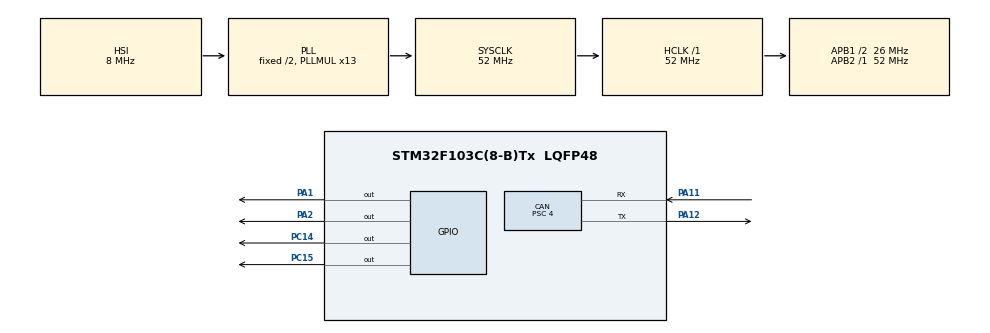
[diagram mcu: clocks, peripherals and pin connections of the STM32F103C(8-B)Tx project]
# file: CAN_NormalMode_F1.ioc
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CAN.BS1=CAN_BS1_10TQ
CAN.BS2=CAN_BS2_2TQ
CAN.CalculateBaudRate=500000
CAN.CalculateTimeBit=2000
CAN.CalculateTimeQuantum=153.84615384615384
CAN.NART=ENABLE
CAN.Prescaler=4
Mcu.Family=STM32F1
Mcu.Name=STM32F103C(8-B)Tx
Mcu.Package=LQFP48
NVIC.CAN1_RX1_IRQn=true\:0\:0\:false\:false\:true\:true\:true\:true
NVIC.CAN1_SCE_IRQn=true\:0\:0\:false\:false\:true\:true\:true\:true
NVIC.PriorityGroup=NVIC_PRIORITYGROUP_4
NVIC.USB_HP_CAN1_TX_IRQn=true\:0\:0\:false\:false\:true\:true\:true\:true
NVIC.USB_LP_CAN1_RX0_IRQn=true\:0\:0\:false\:false\:true\:true\:true\:true
PA1.Signal=GPIO_Output
PA11.Mode=CAN_Activate
PA11.Signal=CAN_RX
PA12.Mode=CAN_Activate
PA12.Signal=CAN_TX
PA13.Mode=Serial_Wire
PA13.Signal=SYS_JTMS-SWDIO
PA14.Mode=Serial_Wire
PA14.Signal=SYS_JTCK-SWCLK
PA2.Signal=GPIO_Output
PC14-OSC32_IN.Signal=GPIO_Output
PC15-OSC32_OUT.Signal=GPIO_Output
ProjectManager.HeapSize=0x200
ProjectManager.StackSize=0x400
ProjectManager.TargetToolchain=STM32CubeIDE
RCC.AHBFreq_Value=52000000
RCC.APB1CLKDivider=RCC_HCLK_DIV2
RCC.APB1Freq_Value=26000000
RCC.APB1TimFreq_Value=52000000
RCC.APB2Freq_Value=52000000
RCC.APB2TimFreq_Value=52000000
RCC.HCLKFreq_Value=52000000
RCC.PLLMUL=RCC_PLL_MUL13
RCC.SYSCLKFreq_VALUE=52000000
RCC.SYSCLKSource=RCC_SYSCLKSOURCE_PLLCLK
RCC.USBFreq_Value=52000000
board=custom

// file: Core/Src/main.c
/* USER CODE BEGIN Header */
/**
  ******************************************************************************
  * @file           : main.c
  * @brief          : Main program body
  ******************************************************************************
  * @attention
  *
  * Copyright (c) 2024 STMicroelectronics.
  * All rights reserved.
  *
  * This software is licensed under terms that can be found in the LICENSE file
  * in the root directory of this software component.
  * If no LICENSE file comes with this software, it is provided AS-IS.
  *
  ******************************************************************************
  */
/* USER CODE END Header */
#include "main.h"

/* USER CODE BEGIN Includes */

#include <stdio.h>
#include <string.h>

/* USER CODE END Includes */

/* USER CODE BEGIN PD */

#define LED1_PORT			(GPIOA)
#define LED2_PORT			(GPIOA)
#define LED3_PORT			(GPIOC)
#define LED4_PORT			(GPIOC)

#define LED1_PIN			(GPIO_PIN_2)
#define LED2_PIN			(GPIO_PIN_1)
#define LED3_PIN			(GPIO_PIN_15)
#define LED4_PIN			(GPIO_PIN_14)

/* USER CODE END PD */

CAN_HandleTypeDef hcan1;

void SystemClock_Config(void);
static void MX_GPIO_Init(void);
static void MX_CAN_Init(void);
/* USER CODE BEGIN PFP */

void CAN1_FiterConfig(void);

void LedManage(uint8_t Copy_u8LedNum);
void ManageResponse(void);

/* USER CODE END PFP */

int main(void)
{

  /* MCU Configuration--------------------------------------------------------*/

  /* Reset of all peripherals, Initializes the Flash interface and the Systick. */
  HAL_Init();

  /* Configure the system clock */
  SystemClock_Config();

  /* Initialize all configured peripherals */
  MX_GPIO_Init();
  MX_CAN_Init();
  /* USER CODE BEGIN 2 */

  /* CAN Interrupt Enable*/
  if (HAL_CAN_ActivateNotification(&hcan1, CAN_IT_TX_MAILBOX_EMPTY | CAN_IT_RX_FIFO0_MSG_PENDING | CAN_IT_RX_FIFO1_MSG_PENDING) != HAL_OK)
  {
	  Error_Handler();
  }

  CAN1_FiterConfig();

  /* Go to normal mode */
  HAL_CAN_Start(&hcan1);

  /* USER CODE END 2 */

  /* Infinite loop */
  while (1)
  {

  }
}

void SystemClock_Config(void)
{
  RCC_OscInitTypeDef RCC_OscInitStruct = {0};
  RCC_ClkInitTypeDef RCC_ClkInitStruct = {0};

  /** Initializes the RCC Oscillators according to the specified parameters
  * in the RCC_OscInitTypeDef structure.
  */
  RCC_OscInitStruct.OscillatorType = RCC_OSCILLATORTYPE_HSI;
  RCC_OscInitStruct.HSIState = RCC_HSI_ON;
  RCC_OscInitStruct.HSICalibrationValue = RCC_HSICALIBRATION_DEFAULT;
  RCC_OscInitStruct.PLL.PLLState = RCC_PLL_ON;
  RCC_OscInitStruct.PLL.PLLSource = RCC_PLLSOURCE_HSI_DIV2;
  RCC_OscInitStruct.PLL.PLLMUL = RCC_PLL_MUL13;
  if (HAL_RCC_OscConfig(&RCC_OscInitStruct) != HAL_OK)
  {
    Error_Handler();
  }

  /** Initializes the CPU, AHB and APB buses clocks
  */
  RCC_ClkInitStruct.ClockType = RCC_CLOCKTYPE_HCLK|RCC_CLOCKTYPE_SYSCLK
                              |RCC_CLOCKTYPE_PCLK1|RCC_CLOCKTYPE_PCLK2;
  RCC_ClkInitStruct.SYSCLKSource = RCC_SYSCLKSOURCE_PLLCLK;
  RCC_ClkInitStruct.AHBCLKDivider = RCC_SYSCLK_DIV1;
  RCC_ClkInitStruct.APB1CLKDivider = RCC_HCLK_DIV2;
  RCC_ClkInitStruct.APB2CLKDivider = RCC_HCLK_DIV1;

  if (HAL_RCC_ClockConfig(&RCC_ClkInitStruct, FLASH_LATENCY_2) != HAL_OK)
  {
    Error_Handler();
  }
}

static void MX_CAN_Init(void)
{

  hcan1.Instance = CAN1;
  hcan1.Init.Prescaler = 4;
  hcan1.Init.Mode = CAN_MODE_NORMAL;
  hcan1.Init.SyncJumpWidth = CAN_SJW_1TQ;
  hcan1.Init.TimeSeg1 = CAN_BS1_10TQ;
  hcan1.Init.TimeSeg2 = CAN_BS2_2TQ;
  hcan1.Init.TimeTriggeredMode = DISABLE;
  hcan1.Init.AutoBusOff = DISABLE;
  hcan1.Init.AutoWakeUp = DISABLE;
  hcan1.Init.AutoRetransmission = ENABLE;
  hcan1.Init.ReceiveFifoLocked = DISABLE;
  hcan1.Init.TransmitFifoPriority = DISABLE;
  if (HAL_CAN_Init(&hcan1) != HAL_OK)
  {
    Error_Handler();
  }

}

static void MX_GPIO_Init(void)
{
  GPIO_InitTypeDef GPIO_InitStruct = {0};

  /* GPIO Ports Clock Enable */
  __HAL_RCC_GPIOC_CLK_ENABLE();
  __HAL_RCC_GPIOA_CLK_ENABLE();

  /*Configure GPIO pin Output Level */
  HAL_GPIO_WritePin(GPIOC, GPIO_PIN_14|GPIO_PIN_15, GPIO_PIN_RESET);

  /*Configure GPIO pin Output Level */
  HAL_GPIO_WritePin(GPIOA, GPIO_PIN_1|GPIO_PIN_2, GPIO_PIN_RESET);

  /*Configure GPIO pins : PC14 PC15 */
  GPIO_InitStruct.Pin = GPIO_PIN_14|GPIO_PIN_15;
  GPIO_InitStruct.Mode = GPIO_MODE_OUTPUT_PP;
  GPIO_InitStruct.Pull = GPIO_NOPULL;
  GPIO_InitStruct.Speed = GPIO_SPEED_FREQ_LOW;
  HAL_GPIO_Init(GPIOC, &GPIO_InitStruct);

  /*Configure GPIO pins : PA1 PA2 */
  GPIO_InitStruct.Pin = GPIO_PIN_1|GPIO_PIN_2;
  GPIO_InitStruct.Mode = GPIO_MODE_OUTPUT_PP;
  GPIO_InitStruct.Pull = GPIO_NOPULL;
  GPIO_InitStruct.Speed = GPIO_SPEED_FREQ_LOW;
  HAL_GPIO_Init(GPIOA, &GPIO_InitStruct);

}

/* USER CODE BEGIN 4 */

void CAN1_FiterConfig(void)
{
	CAN_FilterTypeDef Local_FilterConfig =
	{
			.FilterActivation = CAN_FILTER_ENABLE,
			.FilterBank = 0U,
			.FilterFIFOAssignment = CAN_RX_FIFO0,
			.FilterMaskIdHigh = 0U,
			.FilterMaskIdLow = 0U,
			.FilterMode = CAN_FILTERMODE_IDMASK,
			.FilterScale = CAN_FILTERSCALE_32BIT
	};

	if (HAL_CAN_ConfigFilter(&hcan1, &Local_FilterConfig) != HAL_OK)
	{
		Error_Handler();
	}
}

//void HAL_CAN_TxMailbox0CompleteCallback(CAN_HandleTypeDef *hcan)
//{
//	char Local_chTransmitMsg[50];
//
//	sprintf(Local_chTransmitMsg, "Message transmitted: MB0\r\n");
//
//	HAL_UART_Transmit(&huart2, (uint8_t *)Local_chTransmitMsg, strlen(Local_chTransmitMsg), HAL_MAX_DELAY);
//}
//
//void HAL_CAN_TxMailbox1CompleteCallback(CAN_HandleTypeDef *hcan)
//{
//	char Local_chTransmitMsg[50];
//
//	sprintf(Local_chTransmitMsg, "Message transmitted: MB1\r\n");
//
//	HAL_UART_Transmit(&huart2, (uint8_t *)Local_chTransmitMsg, strlen(Local_chTransmitMsg), HAL_MAX_DELAY);
//}
//
//void HAL_CAN_TxMailbox2CompleteCallback(CAN_HandleTypeDef *hcan)
//{
//	char Local_chTransmitMsg[50];
//
//	sprintf(Local_chTransmitMsg, "Message transmitted: MB2\r\n");
//
//	HAL_UART_Transmit(&huart2, (uint8_t *)Local_chTransmitMsg, strlen(Local_chTransmitMsg), HAL_MAX_DELAY);
//}

void HAL_CAN_RxFifo0MsgPendingCallback(CAN_HandleTypeDef *hcan)
{
	CAN_RxHeaderTypeDef Local_CanRxHdr;
	uint8_t Local_au8ReceivedData[8U];
	//char Local_chReceivedMsg[50];

	if (HAL_CAN_GetRxMessage(&hcan1, CAN_RX_FIFO0, &Local_CanRxHdr, (uint8_t *)&Local_au8ReceivedData) != HAL_OK)
	{
		Error_Handler();
	}
	else
	{
		/* Correctly received the frame */
		if ((Local_CanRxHdr.StdId == 0x65D) && (Local_CanRxHdr.RTR == CAN_RTR_DATA))
		{
			/* Our led managment frame */
			LedManage(Local_au8ReceivedData[0U]);

		}
		else if ((Local_CanRxHdr.StdId == 0x651) && (Local_CanRxHdr.RTR == CAN_RTR_REMOTE))
		{
			ManageResponse();
		}
	}

	//sprintf(Local_chReceivedMsg, "Message received: %s\r\n", (char*)&Local_au8ReceivedData);

	//HAL_UART_Transmit(&huart2, (uint8_t *)&Local_chReceivedMsg, strlen((char*)&Local_chReceivedMsg), HAL_MAX_DELAY);
}

void LedManage(uint8_t Copy_u8LedNum)
{
	HAL_GPIO_WritePin(LED1_PORT, LED1_PIN, GPIO_PIN_RESET);
	HAL_GPIO_WritePin(LED2_PORT, LED2_PIN, GPIO_PIN_RESET);
	HAL_GPIO_WritePin(LED3_PORT, LED3_PIN, GPIO_PIN_RESET);
	HAL_GPIO_WritePin(LED4_PORT, LED4_PIN, GPIO_PIN_RESET);

	switch (Copy_u8LedNum)
	{
	case 1: HAL_GPIO_WritePin(LED1_PORT, LED1_PIN, GPIO_PIN_SET); break;
	case 2: HAL_GPIO_WritePin(LED2_PORT, LED2_PIN, GPIO_PIN_SET); break;
	case 3: HAL_GPIO_WritePin(LED3_PORT, LED3_PIN, GPIO_PIN_SET); break;
	case 4: HAL_GPIO_WritePin(LED4_PORT, LED4_PIN, GPIO_PIN_SET); break;
	default: break;
	}
}

void ManageResponse(void)
{
	uint8_t Local_au8Response[8U] = {0xAA, 0xBB};

	CAN_TxHeaderTypeDef Local_CanTxHdr;
	uint32_t Local_u32Mailbox;

	Local_CanTxHdr.StdId = 0x651U;
	Local_CanTxHdr.IDE = CAN_ID_STD;
	Local_CanTxHdr.RTR = CAN_RTR_DATA;
	Local_CanTxHdr.DLC = 2U;

	if (HAL_CAN_AddTxMessage(&hcan1, &Local_CanTxHdr, (uint8_t *)&Local_au8Response, &Local_u32Mailbox) != HAL_OK)
	{
		Error_Handler();
	}
}

/* USER CODE END 4 */

void Error_Handler(void)
{
  __disable_irq();
  while (1)
  {
  }
}
